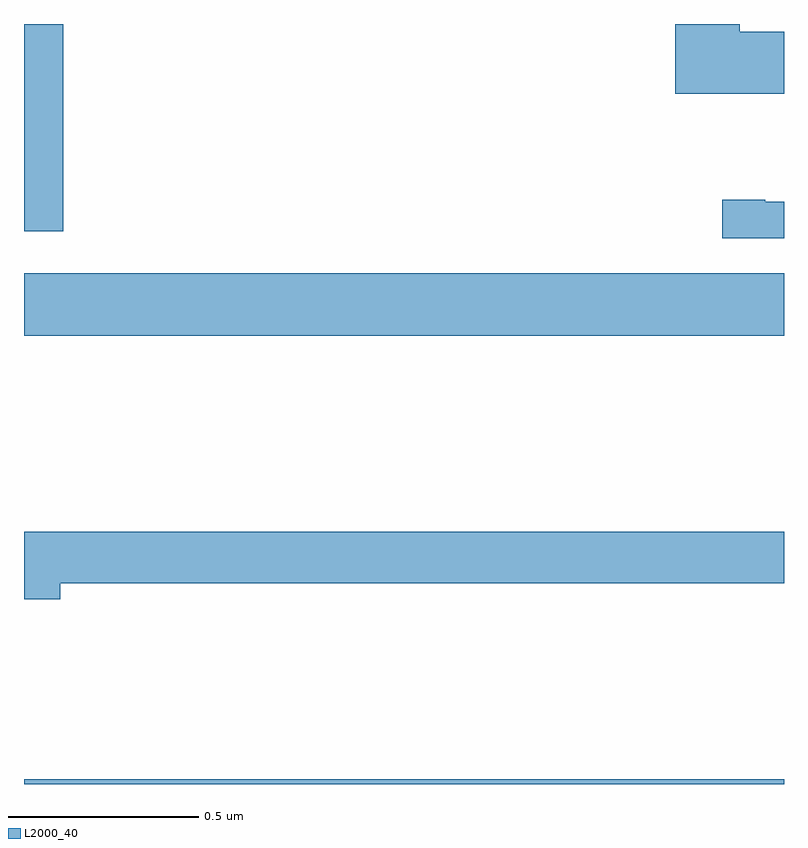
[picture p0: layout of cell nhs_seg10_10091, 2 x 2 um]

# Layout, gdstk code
import gdstk
lib = gdstk.Library(unit=1e-6, precision=1e-09)
def R(c, l, rs):  # rectangles x0, y0, x1, y1
    for r in rs: c.add(gdstk.rectangle(r[:2], r[2:], *l))
def P(c, l, *ps):  # polygons
    for p in ps: c.add(gdstk.Polygon(p, *l))
L2000_40 = (2000, 40)

nhs_seg10_10091 = lib.new_cell('nhs_seg10_10091')
R(nhs_seg10_10091, L2000_40, [(238,1268.5,240,1268.512), (238,1269.68,240,1269.844), (238,1269.954,238.103,1270.5)])
P(nhs_seg10_10091, L2000_40, [(240,1270.479),(239.884,1270.479),(239.884,1270.5),(239.714,1270.5),(239.714,1270.316),(240,1270.316)],
  [(240,1270.032),(239.95,1270.032),(239.95,1270.037),(239.838,1270.037),(239.838,1269.936),(240,1269.936)],
  [(238.096,1269.028),(240,1269.028),(240,1269.164),(238,1269.164),(238,1268.986),(238.096,1268.986)])

lib.write_gds('nhs_seg10_10091.gds')
